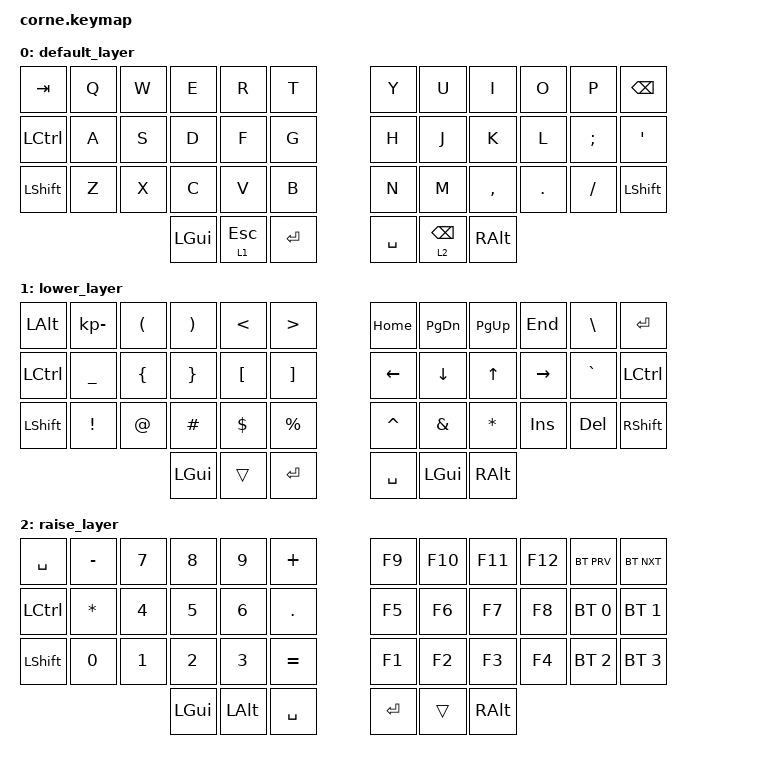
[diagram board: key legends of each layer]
/*
 * Copyright (c) 2020 The ZMK Contributors
 *
 * SPDX-License-Identifier: MIT
 */

#include <behaviors.dtsi>
#include <dt-bindings/zmk/keys.h>
#include <dt-bindings/zmk/bt.h>

&lt {
    tapping-term-ms = <100>;
};

/ {
    keymap {
        compatible = "zmk,keymap";

        default_layer {
            // -----------------------------------------------------------------------------------------
            // |  TAB |  Q  |  W  |  E  |  R  |  T  |   |  Y  |  U   |  I  |  O  |  P  | BKSP |
            // | CTRL |  A  |  S  |  D  |  F  |  G  |   |  H  |  J   |  K  |  L  |  ;  |  '   |
            // | SHFT |  Z  |  X  |  C  |  V  |  B  |   |  N  |  M   |  ,  |  .  |  /  | ESC  |
            //                    | GUI | LWR | SPC |   | ENT | RSE  | ALT |

            bindings = <
  &kp TAB  &kp Q  &kp W     &kp E  &kp R       &kp T        &kp Y      &kp U       &kp I      &kp O    &kp P      &kp BSPC
&kp LCTRL  &kp A  &kp S     &kp D  &kp F       &kp G        &kp H      &kp J       &kp K      &kp L    &kp SEMI   &kp SQT
&kp LSHFT  &kp Z  &kp X     &kp C  &kp V       &kp B        &kp N      &kp M       &kp COMMA  &kp DOT  &kp FSLH   &kp LSHFT
                         &kp LGUI  &lt 1 ESC   &kp RETURN   &kp SPACE  &lt 2 BSPC  &kp RALT
            >;
        };

        lower_layer {
            // -----------------------------------------------------------------------------------------
            // |  TAB |  1  |  2  |  3  |  4  |  5  |   |  6  |  7  |  8  |  9  |  0  | BKSP |
            // | BTCLR| BT1 | BT2 | BT3 | BT4 | BT5 |   | LFT | DWN |  UP | RGT |     |      |
            // | SHFT |     |     |     |     |     |   |     |     |     |     |     |      |
            //                    | GUI |     | SPC |   | ENT |     | ALT |

            bindings = <
    &kp LEFT_ALT     &kp KP_MINUS  &kp LEFT_PARENTHESIS  &kp RIGHT_PARENTHESIS     &kp LESS_THAN   &kp GREATER_THAN     &kp HOME  &kp PAGE_DOWN   &kp PAGE_UP     &kp END  &kp BACKSLASH   &kp ENTER
&kp LEFT_CONTROL   &kp UNDERSCORE        &kp LEFT_BRACE        &kp RIGHT_BRACE  &kp LEFT_BRACKET  &kp RIGHT_BRACKET     &kp LEFT       &kp DOWN        &kp UP   &kp RIGHT      &kp GRAVE   &kp LCTRL
       &kp LSHFT  &kp EXCLAMATION                &kp AT              &kp POUND        &kp DOLLAR        &kp PERCENT    &kp CARET  &kp AMPERSAND  &kp ASTERISK  &kp INSERT     &kp DELETE  &kp RSHIFT
                                                                      &kp LGUI            &trans          &kp ENTER    &kp SPACE   &kp LEFT_GUI      &kp RALT
            >;
        };

        raise_layer {
            // -----------------------------------------------------------------------------------------
            // |  TAB |  !  |  @  |  #  |  $  |  %  |   |  ^  |  &  |  *  |  (  |  )  | BKSP |
            // | CTRL |     |     |     |     |     |   |  -  |  =  |  [  |  ]  |  \  |  `   |
            // | SHFT |     |     |     |     |     |   |  _  |  +  |  {  |  }  | "|" |  ~   |
            //                    | GUI |     | SPC |   | ENT |     | ALT |

            bindings = <
&kp SPACE     &kp MINUS        &kp N7    &kp N8        &kp N9   &kp PLUS     &kp F9  &kp F10   &kp F11  &kp F12    &bt BT_PRV    &bt BT_NXT
&kp LCTRL     &kp ASTRK        &kp N4    &kp N5        &kp N6    &kp DOT     &kp F5   &kp F6    &kp F7   &kp F8  &bt BT_SEL 0  &bt BT_SEL 1
&kp LSHFT  &kp NUMBER_0  &kp NUMBER_1    &kp N2        &kp N3  &kp EQUAL     &kp F1   &kp F2    &kp F3   &kp F4  &bt BT_SEL 2  &bt BT_SEL 3
                                       &kp LGUI  &kp LEFT_ALT  &kp SPACE    &kp RET   &trans  &kp RALT
            >;
        };
    };
};
